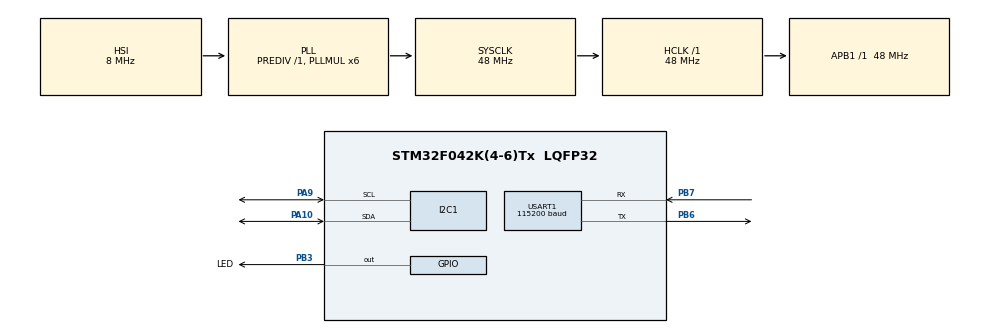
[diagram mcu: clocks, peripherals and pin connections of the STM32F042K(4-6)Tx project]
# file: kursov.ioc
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Mcu.Family=STM32F0
Dma.USART1_RX.0.PeriphDataAlignment=DMA_PDATAALIGN_BYTE
PA10.Mode=I2C
USART1.BaudRate=115200
VP_TIM16_VS_ClockSourceINT.Mode=Enable_Timer
RCC.SYSCLKSource=RCC_SYSCLKSOURCE_PLLCLK
ProjectManager.StackSize=0x400
USART1.VirtualMode-Asynchronous=VM_ASYNC
PA13.Signal=SYS_SWDIO
PA9.Mode=I2C
ProjectManager.TargetToolchain=STM32CubeIDE
Dma.USART1_RX.0.Direction=DMA_PERIPH_TO_MEMORY
RCC.HCLKFreq_Value=48000000
PA9.Signal=I2C1_SCL
PB6.Signal=USART1_TX
PB6.Mode=Asynchronous
RCC.AHBFreq_Value=48000000
Dma.USART1_RX.0.PeriphInc=DMA_PINC_DISABLE
Dma.USART1_RX.0.Priority=DMA_PRIORITY_LOW
PF0-OSC_IN.Mode=HSE-External-Oscillator
board=custom
RCC.PLLMUL=RCC_PLL_MUL6
TIM16.Period=1000
PA14.Mode=Serial_Wire
Dma.USART1_RX.0.MemDataAlignment=DMA_MDATAALIGN_BYTE
PB7.Signal=USART1_RX
Dma.USART1_RX.0.MemInc=DMA_MINC_ENABLE
PA13.Mode=Serial_Wire
Mcu.Name=STM32F042K(4-6)Tx
PB3.Signal=GPIO_Output
RCC.SYSCLKFreq_VALUE=48000000
Mcu.Package=LQFP32
PB7.Mode=Asynchronous
PA10.Signal=I2C1_SDA
PA14.Signal=SYS_SWCLK
ProjectManager.HeapSize=0x200
NVIC.DMA1_Channel2_3_IRQn=true\:0\:0\:false\:false\:true\:false\:true
RCC.APB1TimFreq_Value=48000000
Dma.USART1_RX.0.Mode=DMA_NORMAL
TIM16.Prescaler=48000 - 1
PF0-OSC_IN.Signal=RCC_OSC_IN
NVIC.USART1_IRQn=true\:0\:0\:false\:false\:true\:true\:true
PF1-OSC_OUT.Mode=HSE-External-Oscillator
Dma.Request0=USART1_RX
RCC.APB1Freq_Value=48000000
Dma.USART1_RX.0.Instance=DMA1_Channel3
PF1-OSC_OUT.Signal=RCC_OSC_OUT
PB3.GPIO_Label=LED

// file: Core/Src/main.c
/* USER CODE BEGIN Header */
/**
  ******************************************************************************
  * @file           : main.c
  * @brief          : Main program body
  ******************************************************************************
  * @attention
  *
  * <h2><center>&copy; Copyright (c) 2021 STMicroelectronics.
  * All rights reserved.</center></h2>
  *
  * This software component is licensed by ST under BSD 3-Clause license,
  * the "License"; You may not use this file except in compliance with the
  * License. You may obtain a copy of the License at:
  *                        opensource.org/licenses/BSD-3-Clause
  *
  ******************************************************************************
  */
/* USER CODE END Header */
#include "main.h"

/* USER CODE BEGIN Includes */
#include "lcd-i2c.h"
#include  <string.h>
#include  <stdlib.h>
#include  <stdio.h>
/* USER CODE END Includes */

I2C_HandleTypeDef hi2c1;

TIM_HandleTypeDef htim16;

UART_HandleTypeDef huart1;
DMA_HandleTypeDef hdma_usart1_rx;

/* USER CODE BEGIN PV */
uint16_t tick;
void HAL_TIM_PeriodeElapsedCallback(TIM_HandleTypeDef *htim){

	if(htim == &htim16){
		if(tick < 1000){
			tick++;}
}}

/* USER CODE END PV */

void SystemClock_Config(void);
static void MX_GPIO_Init(void);
static void MX_DMA_Init(void);
static void MX_I2C1_Init(void);
static void MX_USART1_UART_Init(void);
static void MX_TIM16_Init(void);

int main(void)
{

  /* MCU Configuration--------------------------------------------------------*/

  /* Reset of all peripherals, Initializes the Flash interface and the Systick. */
  HAL_Init();

  /* Configure the system clock */
  SystemClock_Config();

  /* Initialize all configured peripherals */
  MX_GPIO_Init();
  MX_DMA_Init();
  MX_I2C1_Init();
  MX_USART1_UART_Init();
  MX_TIM16_Init();
  /* USER CODE BEGIN 2 */

  char c[1000]={0};

  /* USER CODE END 2 */

  /* Infinite loop */
  /* USER CODE BEGIN WHILE */
  HAL_UART_Transmit(&huart1, "im working\n\rEnter text: ", 24, -1);
  char b=0;
  char* s;
  int n=0;
  int k;
  while (1){

	  if(HAL_UART_Receive(&huart1, &b, 1, 0) == HAL_OK){

			HAL_GPIO_WritePin(LED_GPIO_Port, LED_Pin, GPIO_PIN_SET);
		  if(b != 13){
			  c[n]=b;
			  n++;
			  HAL_UART_Transmit(&huart1, &b, 1, -1);
			  //sprintf(c,"%c%c", c, b);
		  }
		  else {
			  HAL_GPIO_WritePin(LED_GPIO_Port, LED_Pin, GPIO_PIN_RESET);
			  HAL_UART_Transmit(&huart1, "\n\rtext is:   ", 9 , -1);
		  HAL_UART_Transmit(&huart1, &c, n+1, -1);
		  HAL_UART_Transmit(&huart1, "\n\rEnter text: ", 14, -1);

		  n=0;
		  lcd_clear();
		  }
		  s=c;
		  if(b == 13){
			  memset(c,0,1000);}
		  HAL_TIM_Base_Start(&htim16);

	  	 		 uint16_t tick = __HAL_TIM_GET_COUNTER(&htim16);
	  	 		 if(0 < tick && tick < 500){
	  	 			lcd_init();
	  	 			lcd_send_string(s);
	  	 		 	HAL_GPIO_WritePin(LED_GPIO_Port, LED_Pin, GPIO_PIN_SET);
	  	 		 }

	  	 	 }

    /* USER CODE END WHILE */

    /* USER CODE BEGIN 3 */

	//char a[30] = {0};

	//	HAL_UART_Receive(&huart1, c, 5, -1);
	//	sprintf(a, "i receive: %s\n\r", c);
	//  HAL_UART_Transmit(&huart1, a, strlen(a), -1);
	//  s=c;

  }
  /* USER CODE END 3 */
}

void SystemClock_Config(void)
{
  RCC_OscInitTypeDef RCC_OscInitStruct = {0};
  RCC_ClkInitTypeDef RCC_ClkInitStruct = {0};
  RCC_PeriphCLKInitTypeDef PeriphClkInit = {0};

  /** Initializes the RCC Oscillators according to the specified parameters
  * in the RCC_OscInitTypeDef structure.
  */
  RCC_OscInitStruct.OscillatorType = RCC_OSCILLATORTYPE_HSI;
  RCC_OscInitStruct.HSIState = RCC_HSI_ON;
  RCC_OscInitStruct.HSICalibrationValue = RCC_HSICALIBRATION_DEFAULT;
  RCC_OscInitStruct.PLL.PLLState = RCC_PLL_ON;
  RCC_OscInitStruct.PLL.PLLSource = RCC_PLLSOURCE_HSI;
  RCC_OscInitStruct.PLL.PLLMUL = RCC_PLL_MUL6;
  RCC_OscInitStruct.PLL.PREDIV = RCC_PREDIV_DIV1;
  if (HAL_RCC_OscConfig(&RCC_OscInitStruct) != HAL_OK)
  {
    Error_Handler();
  }
  /** Initializes the CPU, AHB and APB buses clocks
  */
  RCC_ClkInitStruct.ClockType = RCC_CLOCKTYPE_HCLK|RCC_CLOCKTYPE_SYSCLK
                              |RCC_CLOCKTYPE_PCLK1;
  RCC_ClkInitStruct.SYSCLKSource = RCC_SYSCLKSOURCE_PLLCLK;
  RCC_ClkInitStruct.AHBCLKDivider = RCC_SYSCLK_DIV1;
  RCC_ClkInitStruct.APB1CLKDivider = RCC_HCLK_DIV1;

  if (HAL_RCC_ClockConfig(&RCC_ClkInitStruct, FLASH_LATENCY_1) != HAL_OK)
  {
    Error_Handler();
  }
  PeriphClkInit.PeriphClockSelection = RCC_PERIPHCLK_USART1|RCC_PERIPHCLK_I2C1;
  PeriphClkInit.Usart1ClockSelection = RCC_USART1CLKSOURCE_PCLK1;
  PeriphClkInit.I2c1ClockSelection = RCC_I2C1CLKSOURCE_HSI;
  if (HAL_RCCEx_PeriphCLKConfig(&PeriphClkInit) != HAL_OK)
  {
    Error_Handler();
  }
}

static void MX_I2C1_Init(void)
{

  hi2c1.Instance = I2C1;
  hi2c1.Init.Timing = 0x2000090E;
  hi2c1.Init.OwnAddress1 = 0;
  hi2c1.Init.AddressingMode = I2C_ADDRESSINGMODE_7BIT;
  hi2c1.Init.DualAddressMode = I2C_DUALADDRESS_DISABLE;
  hi2c1.Init.OwnAddress2 = 0;
  hi2c1.Init.OwnAddress2Masks = I2C_OA2_NOMASK;
  hi2c1.Init.GeneralCallMode = I2C_GENERALCALL_DISABLE;
  hi2c1.Init.NoStretchMode = I2C_NOSTRETCH_DISABLE;
  if (HAL_I2C_Init(&hi2c1) != HAL_OK)
  {
    Error_Handler();
  }
  /** Configure Analogue filter
  */
  if (HAL_I2CEx_ConfigAnalogFilter(&hi2c1, I2C_ANALOGFILTER_ENABLE) != HAL_OK)
  {
    Error_Handler();
  }
  /** Configure Digital filter
  */
  if (HAL_I2CEx_ConfigDigitalFilter(&hi2c1, 0) != HAL_OK)
  {
    Error_Handler();
  }

}

static void MX_TIM16_Init(void)
{

  htim16.Instance = TIM16;
  htim16.Init.Prescaler = 48000 - 1;
  htim16.Init.CounterMode = TIM_COUNTERMODE_UP;
  htim16.Init.Period = 1000;
  htim16.Init.ClockDivision = TIM_CLOCKDIVISION_DIV1;
  htim16.Init.RepetitionCounter = 0;
  htim16.Init.AutoReloadPreload = TIM_AUTORELOAD_PRELOAD_DISABLE;
  if (HAL_TIM_Base_Init(&htim16) != HAL_OK)
  {
    Error_Handler();
  }

}

static void MX_USART1_UART_Init(void)
{

  huart1.Instance = USART1;
  huart1.Init.BaudRate = 115200;
  huart1.Init.WordLength = UART_WORDLENGTH_8B;
  huart1.Init.StopBits = UART_STOPBITS_1;
  huart1.Init.Parity = UART_PARITY_NONE;
  huart1.Init.Mode = UART_MODE_TX_RX;
  huart1.Init.HwFlowCtl = UART_HWCONTROL_NONE;
  huart1.Init.OverSampling = UART_OVERSAMPLING_16;
  huart1.Init.OneBitSampling = UART_ONE_BIT_SAMPLE_DISABLE;
  huart1.AdvancedInit.AdvFeatureInit = UART_ADVFEATURE_NO_INIT;
  if (HAL_UART_Init(&huart1) != HAL_OK)
  {
    Error_Handler();
  }

}

static void MX_DMA_Init(void)
{

  /* DMA controller clock enable */
  __HAL_RCC_DMA1_CLK_ENABLE();

  /* DMA interrupt init */
  /* DMA1_Channel2_3_IRQn interrupt configuration */
  HAL_NVIC_SetPriority(DMA1_Channel2_3_IRQn, 0, 0);
  HAL_NVIC_EnableIRQ(DMA1_Channel2_3_IRQn);

}

static void MX_GPIO_Init(void)
{
  GPIO_InitTypeDef GPIO_InitStruct = {0};

  /* GPIO Ports Clock Enable */
  __HAL_RCC_GPIOF_CLK_ENABLE();
  __HAL_RCC_GPIOA_CLK_ENABLE();
  __HAL_RCC_GPIOB_CLK_ENABLE();

  /*Configure GPIO pin Output Level */
  HAL_GPIO_WritePin(LED_GPIO_Port, LED_Pin, GPIO_PIN_RESET);

  /*Configure GPIO pin : LED_Pin */
  GPIO_InitStruct.Pin = LED_Pin;
  GPIO_InitStruct.Mode = GPIO_MODE_OUTPUT_PP;
  GPIO_InitStruct.Pull = GPIO_NOPULL;
  GPIO_InitStruct.Speed = GPIO_SPEED_FREQ_LOW;
  HAL_GPIO_Init(LED_GPIO_Port, &GPIO_InitStruct);

}

void Error_Handler(void)
{
  __disable_irq();
  while (1)
  {
  }
}

/************************ (C) COPYRIGHT STMicroelectronics *****END OF FILE****/
